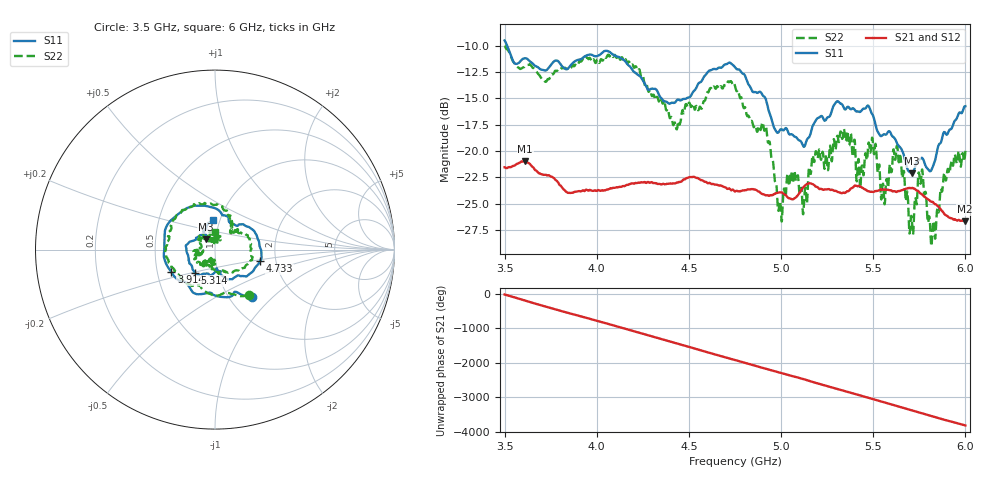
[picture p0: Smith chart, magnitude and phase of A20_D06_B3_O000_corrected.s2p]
! Created with skrf 1.9.0 (http://scikit-rf.org).
# Hz S RI R 50.0
!freq ReS11 ImS11 ReS21 ImS21 ReS12 ImS12 ReS22 ImS22
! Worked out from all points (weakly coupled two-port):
!   1601 points, 3.5 GHz to 6 GHz, reference 50 ohm
!   highest |S21| = -20.96 dB at 3.611 GHz (marker M1); lowest = -26.7 dB at 5.995 GHz (marker M2)
!   lowest |S11| = -22.1 dB at 5.711 GHz (marker M3), VSWR 1.17, Z = 44.7 + j5.26 ohm
!   |S11| at or under -10 dB: 3.514 GHz to end of sweep
!   |S22| runs from -29.0 to -10.0 dB; largest |S21 - S12| = 0.00098
!   S11 on the Smith chart (normalised r, x): 3.5 GHz: 1.27, -0.76; 3.914 GHz: 0.59, -0.16; 4.733 GHz: 1.65, -0.23; 5.314 GHz: 0.78, -0.21; 6 GHz: 0.93, +0.31
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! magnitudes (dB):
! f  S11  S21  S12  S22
! 3.5 GHz  -9.5  -21.5  -21.5  -10.0
! 3.611 GHz  -11.2  -21.0  -20.9  -11.9
! 3.914 GHz  -11.3  -23.8  -23.8  -11.5
! 3.917 GHz  -11.2  -23.8  -23.8  -11.4
! 4.334 GHz  -14.5  -23.1  -23.1  -15.2
! 4.427 GHz  -15.4  -23.1  -23.0  -17.5
! 4.733 GHz  -11.7  -23.7  -23.7  -13.5
! 4.75 GHz  -12.0  -23.8  -23.8  -13.8
! 4.911 GHz  -14.9  -24.2  -24.1  -18.0
! 4.994 GHz  -18.0  -23.9  -23.9  -24.8
! 5.062 GHz  -18.5  -24.6  -24.5  -23.1
! 5.13 GHz  -19.5  -23.3  -23.3  -23.6
! 5.167 GHz  -17.8  -23.1  -23.1  -20.9
! 5.314 GHz  -15.4  -23.9  -23.9  -19.2
! 5.584 GHz  -18.1  -23.7  -23.6  -22.6
! 5.638 GHz  -19.5  -23.8  -23.8  -21.0
! 5.711 GHz  -22.1  -23.5  -23.4  -26.8
! 5.758 GHz  -20.7  -24.1  -24.0  -23.0
! 5.825 GHz  -21.4  -24.9  -24.8  -26.9
! 5.892 GHz  -18.3  -26.1  -26.0  -22.7
! 5.995 GHz  -15.8  -26.7  -26.6  -20.8
! 6 GHz  -15.7  -26.7  -26.6  -20.0
